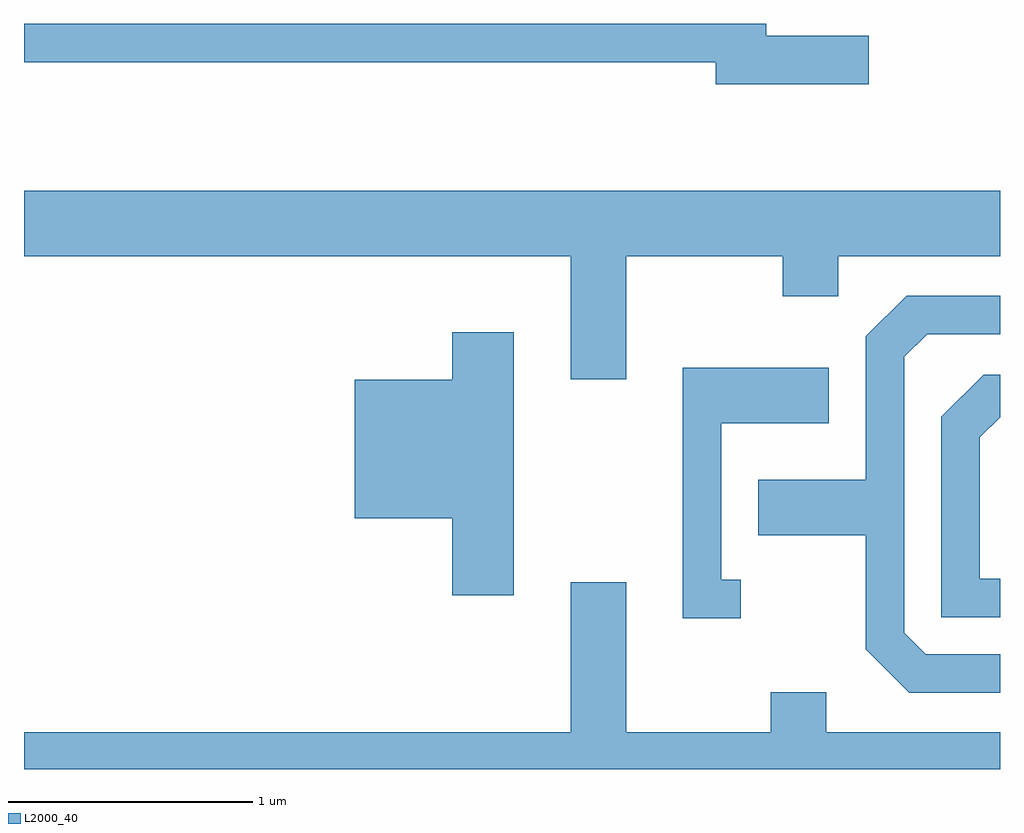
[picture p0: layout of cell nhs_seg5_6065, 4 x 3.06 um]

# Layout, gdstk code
import gdstk
lib = gdstk.Library(unit=1e-6, precision=1e-09)
def P(c, l, *ps):  # polygons
    for p in ps: c.add(gdstk.Polygon(p, *l))
L2000_40 = (2000, 40)

nhs_seg5_6065 = lib.new_cell('nhs_seg5_6065')
P(nhs_seg5_6065, L2000_40, [(369.074,1411.079),(368.654,1411.079),(368.654,1411.129),(365.611,1411.129),(365.611,1410.971),(368.446,1410.971),(368.446,1410.881),(369.074,1410.881)],
  [(368.079,1410.176),(368.721,1410.176),(368.721,1410.011),(368.949,1410.011),(368.949,1410.176),(369.611,1410.176),(369.611,1410.444),(365.611,1410.444),(365.611,1410.176),(367.851,1410.176),(367.851,1409.671),(368.079,1409.671)],
  [(369.611,1408.544),(369.307,1408.544),(369.219,1408.632),(369.219,1409.764),(369.312,1409.856),(369.611,1409.856),(369.611,1410.014),(369.229,1410.014),(369.061,1409.847),(369.061,1409.259),(368.621,1409.259),(368.621,1409.031),(369.061,1409.031),(369.061,1408.564),(369.239,1408.386),(369.611,1408.386)],
  [(367.619,1409.864),(367.366,1409.864),(367.366,1409.669),(366.966,1409.669),(366.966,1409.101),(367.366,1409.101),(367.366,1408.786),(367.619,1408.786)],
  [(368.548,1408.849),(368.469,1408.849),(368.469,1409.491),(368.909,1409.491),(368.909,1409.719),(368.311,1409.719),(368.311,1408.691),(368.548,1408.691)],
  [(369.611,1408.854),(369.529,1408.854),(369.529,1409.434),(369.611,1409.515),(369.611,1409.689),(369.544,1409.689),(369.371,1409.517),(369.371,1408.696),(369.611,1408.696)],
  [(369.611,1408.224),(368.899,1408.224),(368.899,1408.389),(368.671,1408.389),(368.671,1408.224),(368.079,1408.224),(368.079,1408.839),(367.851,1408.839),(367.851,1408.224),(365.611,1408.224),(365.611,1408.072),(369.611,1408.072)])

lib.write_gds('nhs_seg5_6065.gds')
